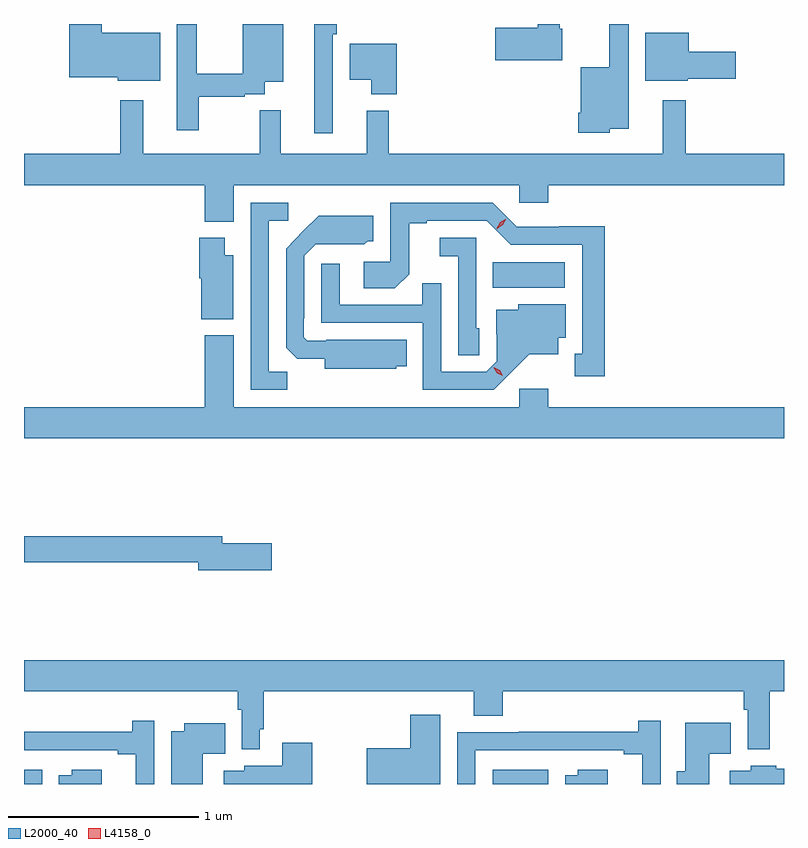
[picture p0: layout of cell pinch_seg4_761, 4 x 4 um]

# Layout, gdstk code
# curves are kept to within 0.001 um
import gdstk
lib = gdstk.Library(unit=1e-6, precision=1e-09)
def R(c, l, rs):  # rectangles x0, y0, x1, y1
    for r in rs: c.add(gdstk.rectangle(r[:2], r[2:], *l))
def P(c, l, *ps):  # polygons
    for p in ps: c.add(gdstk.Polygon(p, *l))
L2000_40 = (2000, 40)
L4158_0 = (4158, 0)

pinch_seg4_761 = lib.new_cell('pinch_seg4_761')
R(pinch_seg4_761, L2000_40, [(781.144,816.312,781.24,816.388), (783.611,816.312,783.904,816.388), (783.61,818.924,783.991,819.058)])
P(pinch_seg4_761, L2000_40, [(782.769,820.259),(782.789,820.259),(782.789,820.312),(782.672,820.312),(782.672,819.738),(782.769,819.738)],
  [(781.861,820.267),(781.552,820.267),(781.552,820.312),(781.382,820.312),(781.382,820.031),(781.638,820.031),(781.638,820.013),(781.861,820.013)],
  [(783.976,820.287),(783.963,820.287),(783.963,820.312),(783.847,820.312),(783.847,820.291),(783.624,820.291),(783.624,820.121),(783.976,820.121)],
  [(782.063,819.93),(782.306,819.93),(782.306,819.942),(782.41,819.942),(782.41,820.007),(782.509,820.007),(782.509,820.312),(782.294,820.312),(782.294,820.051),(782.053,820.051),(782.053,820.312),(781.949,820.312),(781.949,819.753),(782.063,819.753)],
  [(784.227,819.761),(784.327,819.761),(784.327,820.312),(784.223,820.312),(784.223,820.084),(784.073,820.084),(784.073,819.844),(784.061,819.844),(784.061,819.74),(784.227,819.74)],
  [(784.638,820.024),(784.891,820.024),(784.891,820.166),(784.642,820.166),(784.642,820.267),(784.415,820.267),(784.415,820.013),(784.638,820.013)],
  [(783.107,820.207),(782.858,820.207),(782.858,820.019),(782.972,820.019),(782.972,819.941),(783.107,819.941)],
  [(782.248,819.464),(783.75,819.464),(783.75,819.371),(783.902,819.371),(783.902,819.464),(785.144,819.464),(785.144,819.628),(784.627,819.628),(784.627,819.91),(784.505,819.91),(784.505,819.628),(783.065,819.628),(783.065,819.856),(782.948,819.856),(782.948,819.628),(782.495,819.628),(782.495,819.857),(782.385,819.857),(782.385,819.628),(781.771,819.628),(781.771,819.91),(781.65,819.91),(781.65,819.628),(781.144,819.628),(781.144,819.464),(782.096,819.464),(782.096,819.272),(782.248,819.272)],
  [(784.201,819.248),(783.96,819.248),(783.96,819.246),(783.738,819.246),(783.612,819.372),(783.072,819.372),(783.072,819.06),(782.931,819.06),(782.931,818.92),(783.095,818.92),(783.171,818.996),(783.171,819.264),(783.265,819.264),(783.265,819.276),(783.579,819.276),(783.705,819.15),(784.082,819.15),(784.082,818.577),(784.043,818.577),(784.043,818.457),(784.201,818.457)],
  [(782.529,818.483),(782.433,818.483),(782.433,819.276),(782.536,819.276),(782.536,819.372),(782.337,819.372),(782.337,818.388),(782.529,818.388)],
  [(783.102,818.51),(783.158,818.51),(783.158,818.65),(782.734,818.65),(782.734,818.646),(782.634,818.646),(782.616,818.664),(782.616,818.764),(782.619,818.764),(782.619,819.093),(782.679,819.153),(782.936,819.152),(782.952,819.168),(782.983,819.168),(782.983,819.304),(782.695,819.304),(782.523,819.13),(782.523,818.608),(782.582,818.549),(782.726,818.549),(782.726,818.498),(783.102,818.498)],
  [(782.245,819.094),(782.2,819.094),(782.2,819.187),(782.066,819.187),(782.066,818.973),(782.078,818.973),(782.078,818.759),(782.245,818.759)],
  [(783.54,818.712),(783.525,818.712),(783.525,819.186),(783.333,819.186),(783.333,819.089),(783.429,819.089),(783.429,818.569),(783.54,818.569)],
  [(783.7,818.471),(783.803,818.573),(783.955,818.573),(783.955,818.66),(783.994,818.66),(783.994,818.836),(783.744,818.836),(783.744,818.809),(783.629,818.809),(783.629,818.68),(783.633,818.68),(783.633,818.538),(783.576,818.481),(783.339,818.481),(783.339,818.948),(783.241,818.948),(783.241,818.835),(782.805,818.835),(782.805,819.049),(782.709,819.049),(782.709,818.739),(783.243,818.739),(783.243,818.388),(783.616,818.388)],
  [(785.144,818.296),(783.902,818.296),(783.902,818.392),(783.75,818.392),(783.75,818.296),(782.248,818.296),(782.248,818.674),(782.096,818.674),(782.096,818.296),(781.144,818.296),(781.144,818.132),(785.144,818.132)],
  [(782.449,817.58),(782.188,817.58),(782.188,817.616),(781.144,817.616),(781.144,817.48),(782.06,817.48),(782.06,817.438),(782.449,817.438)],
  [(782.385,816.601),(782.405,816.601),(782.405,816.8),(783.512,816.8),(783.512,816.67),(783.665,816.67),(783.665,816.8),(784.933,816.8),(784.933,816.704),(784.953,816.704),(784.953,816.494),(785.069,816.494),(785.069,816.8),(785.144,816.8),(785.144,816.964),(781.144,816.964),(781.144,816.8),(782.269,816.8),(782.269,816.704),(782.289,816.704),(782.289,816.494),(782.385,816.494)],
  [(783.334,816.676),(783.176,816.676),(783.176,816.499),(782.948,816.499),(782.948,816.312),(783.334,816.312)],
  [(783.519,816.489),(784.301,816.489),(784.301,816.469),(784.397,816.469),(784.397,816.312),(784.494,816.312),(784.494,816.646),(784.378,816.646),(784.378,816.587),(783.748,816.587),(783.748,816.585),(783.423,816.585),(783.423,816.312),(783.519,816.312)],
  [(781.83,816.646),(781.714,816.646),(781.714,816.587),(781.144,816.587),(781.144,816.489),(781.637,816.489),(781.637,816.469),(781.733,816.469),(781.733,816.312),(781.83,816.312)],
  [(784.75,816.47),(784.864,816.47),(784.864,816.634),(784.625,816.634),(784.625,816.378),(784.579,816.378),(784.579,816.312),(784.75,816.312)],
  [(782.086,816.47),(782.204,816.47),(782.204,816.631),(781.988,816.631),(781.988,816.589),(781.919,816.589),(781.919,816.312),(782.086,816.312)],
  [(782.662,816.529),(782.504,816.529),(782.504,816.409),(782.304,816.409),(782.304,816.382),(782.195,816.382),(782.195,816.312),(782.662,816.312)],
  [(785.144,816.391),(785.102,816.391),(785.102,816.409),(784.968,816.409),(784.968,816.382),(784.859,816.382),(784.859,816.312),(785.144,816.312)],
  [(781.552,816.388),(781.394,816.388),(781.394,816.358),(781.328,816.358),(781.328,816.312),(781.552,816.312)],
  [(784.216,816.388),(784.058,816.388),(784.058,816.358),(783.992,816.358),(783.992,816.312),(784.216,816.312)])
P(pinch_seg4_761, L4158_0, [(783.633,819.235),(783.633,819.236),(783.65,819.268),(783.681,819.288),(783.682,819.288),(783.682,819.287),(783.665,819.255),(783.634,819.235)],
  [(783.664,818.46),(783.634,818.475),(783.616,818.504),(783.616,818.505),(783.617,818.505),(783.647,818.49),(783.665,818.461),(783.665,818.46)])

lib.write_gds('pinch_seg4_761.gds')
